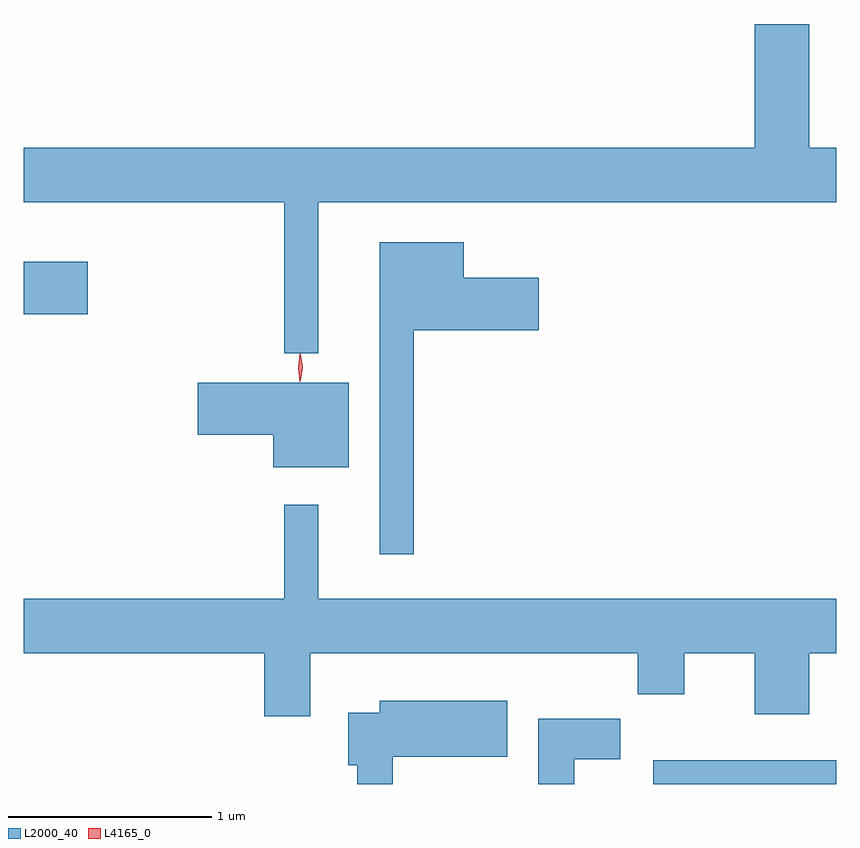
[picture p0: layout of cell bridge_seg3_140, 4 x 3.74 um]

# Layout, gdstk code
import gdstk
lib = gdstk.Library(unit=1e-6, precision=1e-09)
def R(c, l, rs):  # rectangles x0, y0, x1, y1
    for r in rs: c.add(gdstk.rectangle(r[:2], r[2:], *l))
def P(c, l, *ps):  # polygons
    for p in ps: c.add(gdstk.Polygon(p, *l))
L2000_40 = (2000, 40)
L4165_0 = (4165, 0)

bridge_seg3_140 = lib.new_cell('bridge_seg3_140')
R(bridge_seg3_140, L2000_40, [(833.956,1200.853,834.858,1200.969), (830.858,1203.166,831.174,1203.424)])
P(bridge_seg3_140, L2000_40, [(832.309,1203.716),(834.858,1203.716),(834.858,1203.984),(834.724,1203.984),(834.724,1204.594),(834.456,1204.594),(834.456,1203.984),(830.858,1203.984),(830.858,1203.716),(832.141,1203.716),(832.141,1202.973),(832.309,1202.973)],
  [(832.779,1203.086),(833.394,1203.086),(833.394,1203.344),(833.024,1203.344),(833.024,1203.519),(832.611,1203.519),(832.611,1201.983),(832.779,1201.983)],
  [(832.459,1202.829),(831.716,1202.829),(831.716,1202.571),(832.086,1202.571),(832.086,1202.411),(832.459,1202.411)],
  [(832.269,1201.496),(833.881,1201.496),(833.881,1201.296),(834.109,1201.296),(834.109,1201.496),(834.456,1201.496),(834.456,1201.196),(834.724,1201.196),(834.724,1201.496),(834.858,1201.496),(834.858,1201.764),(832.309,1201.764),(832.309,1202.228),(832.141,1202.228),(832.141,1201.764),(830.858,1201.764),(830.858,1201.496),(832.041,1201.496),(832.041,1201.186),(832.269,1201.186)],
  [(832.674,1200.986),(833.239,1200.986),(833.239,1201.264),(832.611,1201.264),(832.611,1201.204),(832.456,1201.204),(832.456,1200.946),(832.501,1200.946),(832.501,1200.853),(832.674,1200.853)],
  [(833.569,1200.976),(833.794,1200.976),(833.794,1201.174),(833.391,1201.174),(833.391,1200.853),(833.569,1200.853)])
P(bridge_seg3_140, L4165_0, [(832.218,1202.834),(832.209,1202.902),(832.218,1202.97),(832.219,1202.97),(832.22,1202.97),(832.229,1202.902),(832.22,1202.834),(832.219,1202.834)],
  [(832.221,1202.84),(832.212,1202.904),(832.221,1202.966),(832.222,1202.967),(832.222,1202.966),(832.232,1202.904),(832.222,1202.84),(832.222,1202.84)])

lib.write_gds('bridge_seg3_140.gds')
